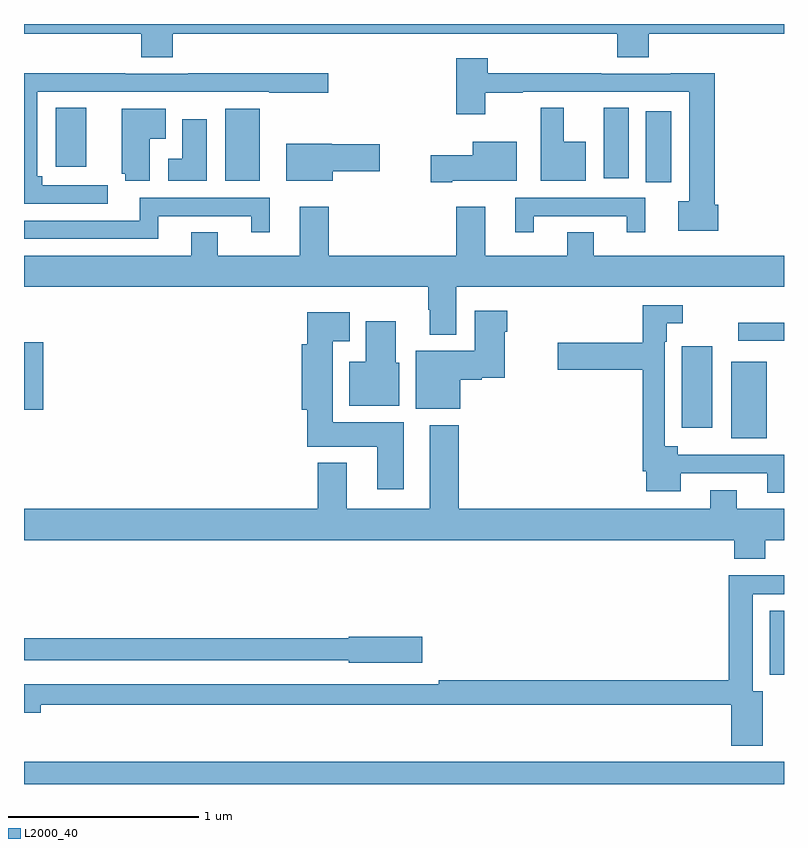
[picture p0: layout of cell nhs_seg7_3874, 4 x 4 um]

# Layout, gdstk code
import gdstk
lib = gdstk.Library(unit=1e-6, precision=1e-09)
def R(c, l, rs):  # rectangles x0, y0, x1, y1
    for r in rs: c.add(gdstk.rectangle(r[:2], r[2:], *l))
def P(c, l, *ps):  # polygons
    for p in ps: c.add(gdstk.Polygon(p, *l))
L2000_40 = (2000, 40)

nhs_seg7_3874 = lib.new_cell('nhs_seg7_3874')
R(nhs_seg7_3874, L2000_40, [(357,998,361,998.116), (360.926,998.576,361,998.911), (360.722,999.821,360.91,1000.222), (360.461,999.876,360.622,1000.303), (357,999.971,357.101,1000.324), (360.759,1000.332,361,1000.428), (360.272,1001.166,360.406,1001.542), (358.058,1001.174,358.24,1001.554), (360.05,1001.187,360.184,1001.558), (357.167,1001.25,357.328,1001.558)])
P(nhs_seg7_3874, L2000_40, [(357.782,1001.948),(360.122,1001.948),(360.122,1001.824),(360.287,1001.824),(360.287,1001.948),(361,1001.948),(361,1002),(357,1002),(357,1001.948),(357.617,1001.948),(357.617,1001.824),(357.782,1001.824)],
  [(360.653,1001.049),(360.635,1001.049),(360.635,1001.741),(360.404,1001.741),(360.404,1001.739),(360.038,1001.739),(360.038,1001.741),(359.441,1001.741),(359.441,1001.821),(359.276,1001.821),(359.276,1001.526),(359.428,1001.526),(359.428,1001.638),(359.624,1001.638),(359.624,1001.643),(360.5,1001.643),(360.5,1001.066),(360.444,1001.066),(360.444,1000.913),(360.653,1000.913)],
  [(357.442,1001.151),(357.096,1001.151),(357.096,1001.199),(357.07,1001.199),(357.07,1001.643),(358.291,1001.643),(358.291,1001.638),(358.6,1001.638),(358.6,1001.741),(357.865,1001.741),(357.865,1001.739),(357.533,1001.739),(357.533,1001.741),(357,1001.741),(357,1001.055),(357.442,1001.055)],
  [(359.956,1001.38),(359.842,1001.38),(359.842,1001.558),(359.72,1001.558),(359.72,1001.174),(359.956,1001.174)],
  [(357.661,1001.396),(357.745,1001.396),(357.745,1001.554),(357.515,1001.554),(357.515,1001.211),(357.532,1001.211),(357.532,1001.174),(357.661,1001.174)],
  [(357.961,1001.5),(357.833,1001.5),(357.833,1001.29),(357.759,1001.29),(357.759,1001.174),(357.961,1001.174)],
  [(359.254,1001.174),(359.593,1001.174),(359.593,1001.38),(359.363,1001.38),(359.363,1001.309),(359.142,1001.309),(359.142,1001.167),(359.254,1001.167)],
  [(358.624,1001.224),(358.873,1001.224),(358.873,1001.366),(358.62,1001.366),(358.62,1001.371),(358.379,1001.371),(358.379,1001.174),(358.624,1001.174)],
  [(359.683,1000.989),(360.173,1000.989),(360.173,1000.905),(360.271,1000.905),(360.271,1001.085),(359.585,1001.085),(359.585,1000.905),(359.683,1000.905)],
  [(357.706,1000.989),(358.196,1000.989),(358.196,1000.905),(358.294,1000.905),(358.294,1001.085),(357.608,1001.085),(357.608,1000.965),(357,1000.965),(357,1000.869),(357.706,1000.869)],
  [(359.275,1000.616),(361,1000.616),(361,1000.78),(359.998,1000.78),(359.998,1000.904),(359.858,1000.904),(359.858,1000.78),(359.428,1000.78),(359.428,1001.038),(359.276,1001.038),(359.276,1000.78),(358.604,1000.78),(358.604,1001.038),(358.451,1001.038),(358.451,1000.78),(358.021,1000.78),(358.021,1000.904),(357.881,1000.904),(357.881,1000.78),(357,1000.78),(357,1000.616),(359.128,1000.616),(359.128,1000.496),(359.135,1000.496),(359.135,1000.364),(359.275,1000.364)],
  [(361,999.732),(360.442,999.732),(360.442,999.778),(360.372,999.778),(360.372,1000.328),(360.384,1000.328),(360.384,1000.425),(360.466,1000.425),(360.466,1000.521),(360.256,1000.521),(360.256,1000.323),(359.808,1000.323),(359.808,1000.181),(360.256,1000.181),(360.256,999.646),(360.275,999.646),(360.275,999.542),(360.457,999.542),(360.457,999.636),(360.911,999.636),(360.911,999.534),(361,999.534)],
  [(359.296,1000.127),(359.409,1000.127),(359.409,1000.139),(359.53,1000.139),(359.53,1000.379),(359.543,1000.379),(359.543,1000.492),(359.372,1000.492),(359.372,1000.279),(359.063,1000.279),(359.063,999.974),(359.296,999.974)],
  [(358.999,999.904),(358.624,999.904),(358.624,1000.331),(358.714,1000.331),(358.714,1000.483),(358.49,1000.483),(358.49,1000.315),(358.463,1000.315),(358.463,999.971),(358.49,999.971),(358.49,999.776),(358.859,999.776),(358.859,999.552),(358.999,999.552)],
  [(358.975,1000.218),(358.957,1000.218),(358.957,1000.435),(358.799,1000.435),(358.799,1000.222),(358.712,1000.222),(358.712,999.992),(358.975,999.992)],
  [(360.902,999.284),(361,999.284),(361,999.448),(360.751,999.448),(360.751,999.547),(360.611,999.547),(360.611,999.448),(359.288,999.448),(359.288,999.889),(359.135,999.889),(359.135,999.448),(358.699,999.448),(358.699,999.691),(358.547,999.691),(358.547,999.448),(357,999.448),(357,999.284),(360.737,999.284),(360.737,999.185),(360.902,999.185)],
  [(360.889,998.488),(360.835,998.488),(360.835,999),(361,999),(361,999.098),(360.71,999.098),(360.71,998.546),(359.182,998.546),(359.182,998.526),(357,998.526),(357,998.375),(357.088,998.375),(357.088,998.418),(360.722,998.418),(360.722,998.202),(360.889,998.202)],
  [(359.095,998.774),(358.71,998.774),(358.71,998.768),(357,998.768),(357,998.652),(358.71,998.652),(358.71,998.639),(359.095,998.639)])

lib.write_gds('nhs_seg7_3874.gds')
